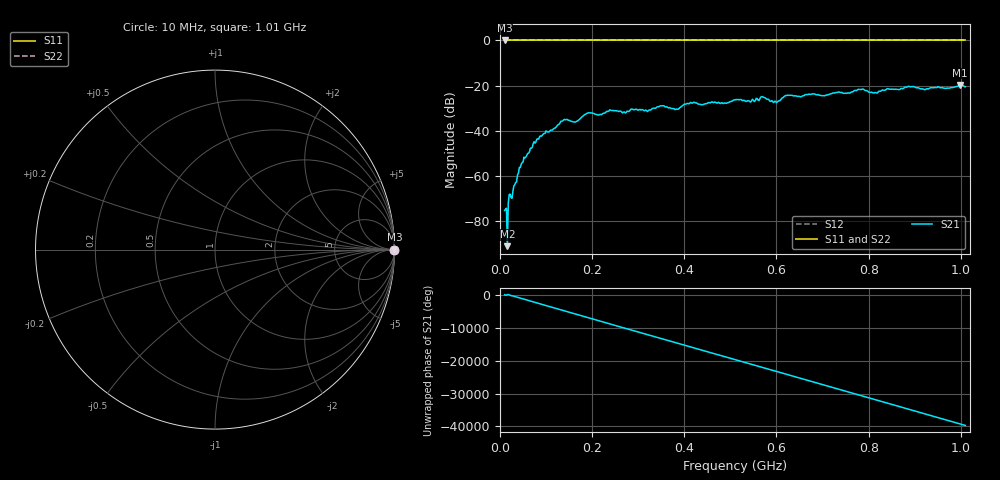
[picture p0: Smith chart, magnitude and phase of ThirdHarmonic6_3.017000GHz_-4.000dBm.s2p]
! 8/17/2025 8:40:12 AM
! C:\ANRITSUVNA\TEMP\TEMP.S2P
! CHANNEL.1
! TR.MEASUREMENT
! RAW.DATA
! RF.CORRECTION.OFF
! AVERAGING.OFF
! IF.BANDWIDTH: 5KHZ
! SWEEPTYPE:  FREQ.SWEEP(Linear)
! Reference Plane Port Info
! PORT:  PORT1  PORT2
! DISTANCE:  0  m  0  m
! TIME:  0  s  0  s
! PHASE.OFFSET:  0  deg.  0  deg.
! LOSS:  0  dB  0  dB
! REF.LOSS:  0  dB  0  dB
! REF.FREQ:  0  Hz  0  Hz
! Power Info
! POWER:  -20  dBm  -20  dBm
! EFF.POWER:  -20  dBm  -20  dBm
! SOURCE.ATTEN:  0  dB  0  dB
! TEST.ATTEN:  0  dB  0  dB
# GHZ S RI R 50.0
! FREQ.GHZ  S11RE  S11IM  S21RE  S21IM  S12RE  S12IM  S22RE  S22IM
!; PortSelection: Port_12
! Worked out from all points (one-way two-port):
!   501 points, 10 MHz to 1.01 GHz, reference 50 ohm
!   highest |S21| = -19.77 dB at 998 MHz (marker M1); lowest = -91.2 dB at 16 MHz (marker M2)
!   lowest |S11| = 0.0 dB at 10 MHz (marker M3)
!   |S11| at or under -10 dB: nowhere
!   |S22| runs from 0.0 to 0.0 dB; largest |S21 - S12| = 1.1
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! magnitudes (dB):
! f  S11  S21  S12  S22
! 10 MHz  0.0  -75.4  0.0  0.0
! 12 MHz  0.0  -74.8  0.0  0.0
! 16 MHz  0.0  -91.2  0.0  0.0
! 46 MHz  0.0  -54.9  0.0  0.0
! 76 MHz  0.0  -45.5  0.0  0.0
! 136 MHz  0.0  -35.7  0.0  0.0
! 164 MHz  0.0  -36.1  0.0  0.0
! 178 MHz  0.0  -33.9  0.0  0.0
! 192 MHz  0.0  -32.1  0.0  0.0
! 322 MHz  0.0  -31.1  0.0  0.0
! 344 MHz  0.0  -29.4  0.0  0.0
! 384 MHz  0.0  -30.4  0.0  0.0
! 410 MHz  0.0  -28.1  0.0  0.0
! 510 MHz  0.0  -26.3  0.0  0.0
! 570 MHz  0.0  -25.0  0.0  0.0
! 598 MHz  0.0  -27.0  0.0  0.0
! 622 MHz  0.0  -24.4  0.0  0.0
! 678 MHz  0.0  -23.7  0.0  0.0
! 814 MHz  0.0  -23.1  0.0  0.0
! 844 MHz  0.0  -21.5  0.0  0.0
! 998 MHz  0.0  -19.8  0.0  0.0
! 1.01 GHz  0.0  -20.5  0.0  0.0
